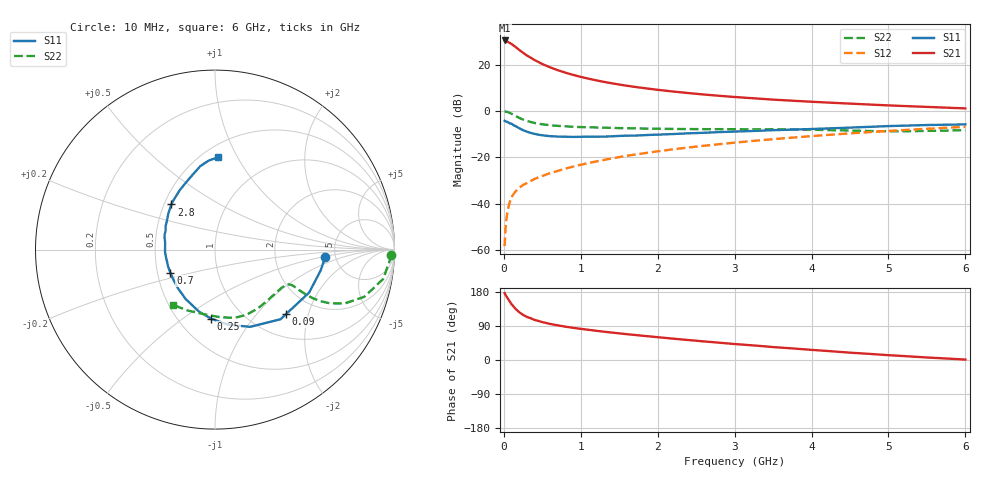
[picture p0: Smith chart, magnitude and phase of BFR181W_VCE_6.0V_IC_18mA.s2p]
! Infineon Technologies  Discrete & RF Semiconductors
! BFR181W
! VCE =  6.0 V,  IC =  18 mA
! Common Emitter S-Parameters:  Jan 2017
# GHz  S  MA  R  50
!  f  S11  S21  S12  S22
! GHz  MAG  ANG  MAG  ANG  MAG  ANG  MAG  ANG
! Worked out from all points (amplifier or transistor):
!   77 points, 10 MHz to 6 GHz, reference 50 ohm
!   highest |S21| = 30.5 dB at 10 MHz (marker M1)
!   |S21| within 3 dB of that: start of sweep to 159 MHz
!   unconditionally stable (mu >= 1): 749.5 MHz to 2.615 GHz
!   at 130 MHz: K = 0.38, MSG = 32.0 dB, |S12| = -35.8 dB
!   at 2.2 GHz: K = 1.03, MAG = 11.4 dB, |S12| = -16.6 dB
!   at 6 GHz: K = 0.83, MSG = 4.0 dB, |S12| = -6.8 dB
!   S11 on the Smith chart (normalised r, x): 10 MHz: 4.11, -0.57; 90 MHz: 1.45, -1.46; 250 MHz: 0.71, -0.64; 700 MHz: 0.58, -0.16; 2.8 GHz: 0.55, +0.31; 6 GHz: 0.60, +0.83
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0.01  0.615 -4.0  33.4 176.5  0.0012 90.4  0.9829 -1.7
0.02  0.6003 -11.1  32.87 172.4  0.0027 98.6  0.9749 -3.7
0.05  0.5764 -24.6  31.55 162.4  0.007 79.7  0.9514 -9.9
0.09  0.5347 -42.1  28.58 150.4  0.0124 75.9  0.8861 -16.0
0.1  0.5327 -46.8  28.05 147.1  0.0137 75.4  0.8715 -17.6
0.15  0.4723 -65.7  24.31 135.3  0.0181 68.1  0.7836 -22.5
0.2  0.4246 -80.2  20.84 126.1  0.022 66.6  0.7098 -25.0
0.25  0.3848 -93.3  18.09 119.0  0.0253 64.0  0.6527 -26.1
0.3  0.3577 -104.2  15.8 113.7  0.0276 64.3  0.6083 -26.4
0.4  0.3201 -120.7  12.57 105.7  0.034 65.6  0.55 -26.1
0.5  0.2982 -133.9  10.34 100.0  0.0394 66.4  0.5151 -25.6
0.6  0.2858 -144.2  8.784 95.3  0.0453 67.8  0.4923 -25.1
0.7  0.2803 -152.4  7.614 91.4  0.0507 69.5  0.4768 -24.8
0.9  0.2754 -166.8  6.018 84.9  0.0628 70.6  0.4568 -25.2
1.1  0.2788 -177.4  4.992 79.7  0.0749 71.6  0.4453 -26.1
1.5  0.2892 166.7  3.728 70.3  0.1009 72.1  0.4269 -30.0
2.1  0.3126 149.0  2.747 58.3  0.1414 70.6  0.4113 -39.0
2.8  0.3501 134.0  2.127 45.6  0.1916 67.3  0.4052 -51.9
3.1  0.3632 128.3  1.954 40.7  0.2144 65.4  0.4032 -57.5
4.1  0.4133 111.7  1.553 25.3  0.2945 58.1  0.3906 -76.3
5.1  0.4765 98.8  1.3 11.6  0.3784 49.2  0.3646 -102.2
6  0.5135 88.4  1.138 1.1  0.455 40.1  0.3866 -127.2
